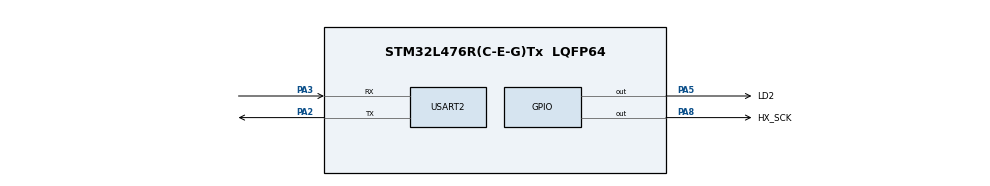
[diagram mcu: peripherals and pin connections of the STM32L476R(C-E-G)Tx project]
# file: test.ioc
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Mcu.Family=STM32L4
Mcu.Name=STM32L476R(C-E-G)Tx
Mcu.Package=LQFP64
NVIC.PriorityGroup=NVIC_PRIORITYGROUP_4
PA2.Mode=Asynchronous
PA2.Signal=USART2_TX
PA3.Mode=Asynchronous
PA3.Signal=USART2_RX
PA5.GPIO_Label=LD2
PA5.Signal=GPIO_Output
PA8.GPIO_Label=HX_SCK
PA8.GPIO_PuPd=GPIO_NOPULL
PA8.GPIO_Speed=GPIO_SPEED_FREQ_HIGH
PA8.Signal=GPIO_Output
PC14-OSC32_IN\ (PC14).Mode=LSE-External-Oscillator
PC14-OSC32_IN\ (PC14).Signal=RCC_OSC32_IN
PC15-OSC32_OUT\ (PC15).Mode=LSE-External-Oscillator
PC15-OSC32_OUT\ (PC15).Signal=RCC_OSC32_OUT
ProjectManager.HeapSize=0x200
ProjectManager.StackSize=0x400
ProjectManager.TargetToolchain=STM32CubeIDE
RCC.HSE_VALUE=8000000
RCC.HSI_VALUE=16000000
RCC.MSI_VALUE=4000000
RCC.RTCClockSelection=RCC_RTCCLKSOURCE_LSE
RCC.VCOOutputFreq_Value=32000000
USART2.VirtualMode-Asynchronous=VM_ASYNC
board=custom

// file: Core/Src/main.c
/* USER CODE BEGIN Header */
/**
  ******************************************************************************
  * @file           : main.c
  * @brief          : Main program body
  ******************************************************************************
  * @attention
  *
  * Copyright (c) 2025 STMicroelectronics.
  * All rights reserved.
  *
  * This software is licensed under terms that can be found in the LICENSE file
  * in the root directory of this software component.
  * If no LICENSE file comes with this software, it is provided AS-IS.
  *
  ******************************************************************************
  */
/* USER CODE END Header */
#include "main.h"

/* USER CODE BEGIN Includes */
#include "hx711.h"
#include <stdio.h>
#include "stm32l4xx_ll_exti.h"
/* USER CODE END Includes */

UART_HandleTypeDef huart2;

/* USER CODE BEGIN PV */
static hx711_t hx711_instance;
hx711_t *hx711 = &hx711_instance;
float result;
char buffer[128] = {0};
float average = 0;
float sum = 0.0f;
uint32_t measurement_count = 0;
uint8_t ready = 0;

/* USER CODE END PV */

void SystemClock_Config(void);
static void MX_GPIO_Init(void);
static void MX_USART2_UART_Init(void);

/* USER CODE BEGIN 0 */

void init_weight(hx711_t *hx711){

	int len = sprintf(buffer,"HX711 initialization\n\r");
	HAL_UART_Transmit(&huart2, (uint8_t *)(buffer), len, 100);

	/* Initialize the hx711 sensors */
	hx711_init(hx711, HX_SCK_GPIO_Port, HX_SCK_Pin, HX_DT_GPIO_Port, HX_DT_Pin);

	/* Configure gain for each channel (see datasheet for details) */
	set_gain(hx711, 64, 32);

	/* Set HX711 scaling factor (see README for procedure) */
	set_scale(hx711, 1, -10.98);

	len = sprintf(buffer,"HX711 module has been initialized\n\r");
	HAL_UART_Transmit(&huart2, (uint8_t *)(buffer), len, 100);

	LL_EXTI_EnableIT_0_31(LL_EXTI_LINE_12);
}

void HAL_GPIO_EXTI_Callback(uint16_t GPIO_Pin)
{

	if (GPIO_Pin == HX_DT_Pin){

		result = get_weight(hx711, 10, CHANNEL_A);
		ready = 1;
	}
}

int __io_putchar(int ch)
{
    if (ch == '\n') {
        uint8_t ch2 = '\r';
        HAL_UART_Transmit(&huart2, &ch2, 1, HAL_MAX_DELAY);
    }
    HAL_UART_Transmit(&huart2, (uint8_t*)&ch, 1, HAL_MAX_DELAY);
    return 1;
}

void enable_HX_DT(void){
	GPIO_InitTypeDef GPIO_InitStruct = {0};
	GPIO_InitStruct.Pin = HX_DT_Pin;
	GPIO_InitStruct.Mode = GPIO_MODE_IT_FALLING;
	GPIO_InitStruct.Pull = GPIO_PULLUP;
	HAL_GPIO_Init(HX_DT_GPIO_Port, &GPIO_InitStruct);

	HAL_NVIC_SetPriority(EXTI3_IRQn, 0, 0);
	HAL_NVIC_EnableIRQ(EXTI3_IRQn);
}

/* USER CODE END 0 */

int main(void)
{

  /* MCU Configuration--------------------------------------------------------*/

  /* Reset of all peripherals, Initializes the Flash interface and the Systick. */
  HAL_Init();

  /* Configure the system clock */
  SystemClock_Config();

  /* Initialize all configured peripherals */
  MX_GPIO_Init();
  MX_USART2_UART_Init();
  /* USER CODE BEGIN 2 */

  init_weight(hx711);

  enable_HX_DT();

  /* USER CODE END 2 */

  /* Infinite loop */
  /* USER CODE BEGIN WHILE */
  while (1)
  {
	  if (ready){

		  measurement_count++;
		  	      sum += result;
		  	      average = sum / (float)measurement_count;

		  	      printf("Wynik pomiaru: %.2f\r\n", result);
		  	      HAL_Delay(400);

		  	      printf("Srednia: %.2f\r\n", average);
		  	      HAL_Delay(400);

		  	      printf("Numer pomiarow: %lu\r\n", (unsigned long)measurement_count);
		  	      HAL_Delay(400);
		  	 ready = 0;
		  	LL_EXTI_EnableIT_0_31(LL_EXTI_LINE_12);

	  }

    /* USER CODE END WHILE */

  }
}

void SystemClock_Config(void)
{
  RCC_OscInitTypeDef RCC_OscInitStruct = {0};
  RCC_ClkInitTypeDef RCC_ClkInitStruct = {0};

  /** Configure the main internal regulator output voltage
  */
  if (HAL_PWREx_ControlVoltageScaling(PWR_REGULATOR_VOLTAGE_SCALE1) != HAL_OK)
  {
    Error_Handler();
  }

  /** Configure LSE Drive Capability
  */
  HAL_PWR_EnableBkUpAccess();
  __HAL_RCC_LSEDRIVE_CONFIG(RCC_LSEDRIVE_LOW);

  /** Initializes the RCC Oscillators according to the specified parameters
  * in the RCC_OscInitTypeDef structure.
  */
  RCC_OscInitStruct.OscillatorType = RCC_OSCILLATORTYPE_LSE|RCC_OSCILLATORTYPE_MSI;
  RCC_OscInitStruct.LSEState = RCC_LSE_ON;
  RCC_OscInitStruct.MSIState = RCC_MSI_ON;
  RCC_OscInitStruct.MSICalibrationValue = 0;
  RCC_OscInitStruct.MSIClockRange = RCC_MSIRANGE_6;
  RCC_OscInitStruct.PLL.PLLState = RCC_PLL_NONE;
  if (HAL_RCC_OscConfig(&RCC_OscInitStruct) != HAL_OK)
  {
    Error_Handler();
  }

  /** Initializes the CPU, AHB and APB buses clocks
  */
  RCC_ClkInitStruct.ClockType = RCC_CLOCKTYPE_HCLK|RCC_CLOCKTYPE_SYSCLK
                              |RCC_CLOCKTYPE_PCLK1|RCC_CLOCKTYPE_PCLK2;
  RCC_ClkInitStruct.SYSCLKSource = RCC_SYSCLKSOURCE_MSI;
  RCC_ClkInitStruct.AHBCLKDivider = RCC_SYSCLK_DIV1;
  RCC_ClkInitStruct.APB1CLKDivider = RCC_HCLK_DIV1;
  RCC_ClkInitStruct.APB2CLKDivider = RCC_HCLK_DIV1;

  if (HAL_RCC_ClockConfig(&RCC_ClkInitStruct, FLASH_LATENCY_0) != HAL_OK)
  {
    Error_Handler();
  }

  /** Enable MSI Auto calibration
  */
  HAL_RCCEx_EnableMSIPLLMode();
}

static void MX_USART2_UART_Init(void)
{

  huart2.Instance = USART2;
  huart2.Init.BaudRate = 115200;
  huart2.Init.WordLength = UART_WORDLENGTH_8B;
  huart2.Init.StopBits = UART_STOPBITS_1;
  huart2.Init.Parity = UART_PARITY_NONE;
  huart2.Init.Mode = UART_MODE_TX_RX;
  huart2.Init.HwFlowCtl = UART_HWCONTROL_NONE;
  huart2.Init.OverSampling = UART_OVERSAMPLING_16;
  huart2.Init.OneBitSampling = UART_ONE_BIT_SAMPLE_DISABLE;
  huart2.AdvancedInit.AdvFeatureInit = UART_ADVFEATURE_NO_INIT;
  if (HAL_UART_Init(&huart2) != HAL_OK)
  {
    Error_Handler();
  }

}

static void MX_GPIO_Init(void)
{
  GPIO_InitTypeDef GPIO_InitStruct = {0};

  /* GPIO Ports Clock Enable */
  __HAL_RCC_GPIOC_CLK_ENABLE();
  __HAL_RCC_GPIOA_CLK_ENABLE();

  /*Configure GPIO pin Output Level */
  HAL_GPIO_WritePin(GPIOA, LD2_Pin|HX_SCK_Pin, GPIO_PIN_RESET);

  /*Configure GPIO pin : LD2_Pin */
  GPIO_InitStruct.Pin = LD2_Pin;
  GPIO_InitStruct.Mode = GPIO_MODE_OUTPUT_PP;
  GPIO_InitStruct.Pull = GPIO_NOPULL;
  GPIO_InitStruct.Speed = GPIO_SPEED_FREQ_LOW;
  HAL_GPIO_Init(LD2_GPIO_Port, &GPIO_InitStruct);

  /*Configure GPIO pin : HX_SCK_Pin */
  GPIO_InitStruct.Pin = HX_SCK_Pin;
  GPIO_InitStruct.Mode = GPIO_MODE_OUTPUT_PP;
  GPIO_InitStruct.Pull = GPIO_NOPULL;
  GPIO_InitStruct.Speed = GPIO_SPEED_FREQ_HIGH;
  HAL_GPIO_Init(HX_SCK_GPIO_Port, &GPIO_InitStruct);

}

void Error_Handler(void)
{
  __disable_irq();
  while (1)
  {
  }
}
